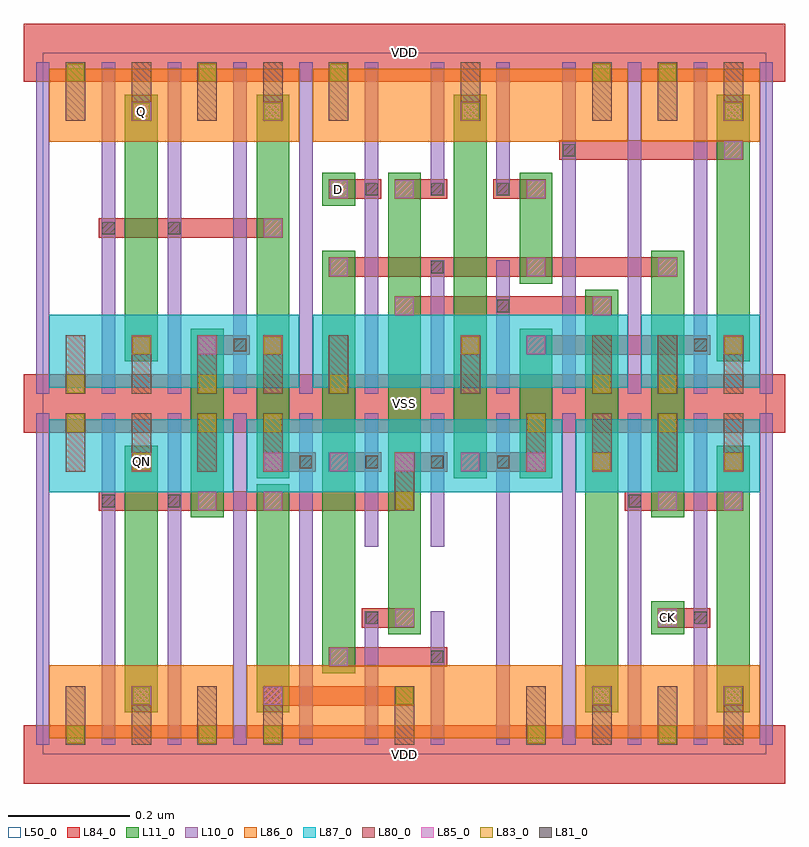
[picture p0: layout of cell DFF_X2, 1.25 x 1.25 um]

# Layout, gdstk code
import gdstk
lib = gdstk.Library(unit=1e-6, precision=1e-09)
def R(c, l, rs):  # rectangles x0, y0, x1, y1
    for r in rs: c.add(gdstk.rectangle(r[:2], r[2:], *l))
def A(c, l, x, y, w, h, nx, ny, dx, dy):  # array of equal rectangles
    R(c, l, [(x+i*dx, y+j*dy, x+i*dx+w, y+j*dy+h) for i in range(nx) for j in range(ny)])
L10_0 = (10, 0)
L11_0 = (11, 0)
L50_0 = (50, 0)
L80_0 = (80, 0)
L81_0 = (81, 0)
L83_0 = (83, 0)
L84_0 = (84, 0)
L85_0 = (85, 0)
L86_0 = (86, 0)
L87_0 = (87, 0)

dff_x2 = lib.new_cell('DFF_X2')
A(dff_x2, L10_0, -0.011, 0.016, 0.022, 0.544, 5, 1, 0.108, 0)
A(dff_x2, L10_0, 0.745, 0.016, 0.022, 0.544, 5, 1, 0.108, 0)
A(dff_x2, L10_0, -0.011, 0.592, 0.022, 0.544, 6, 1, 0.108, 0)
A(dff_x2, L10_0, 0.853, 0.592, 0.022, 0.544, 4, 1, 0.108, 0)
R(dff_x2, L10_0, [(0.529,0.016,0.551,0.235), (0.637,0.016,0.659,0.235), (0.529,0.341,0.551,0.56), (0.637,0.341,0.659,0.56), (0.637,0.592,0.659,0.811), (0.745,0.592,0.767,0.811), (0.637,0.917,0.659,1.136), (0.745,0.917,0.767,1.136)])
R(dff_x2, L11_0, [(0.135,0.069,0.189,0.507), (0.351,0.069,0.405,0.443), (0.891,0.069,0.945,0.763), (1.107,0.069,1.161,0.507), (0.459,0.133,0.513,0.827), (0.567,0.197,0.621,0.955), (0.999,0.197,1.053,0.251), (0.243,0.389,0.297,0.699), (0.999,0.389,1.053,0.827), (0.351,0.453,0.405,1.083), (0.675,0.453,0.729,1.083), (0.783,0.453,0.837,0.699), (0.135,0.645,0.189,1.083), (1.107,0.645,1.161,1.083), (0.783,0.773,0.837,0.955), (0.459,0.901,0.513,0.955)])
R(dff_x2, L50_0, [(0,0,1.188,1.152)])
A(dff_x2, L80_0, 0.038, 0.016, 0.032, 0.096, 4, 2, 0.108, 0.448)
A(dff_x2, L80_0, 0.794, 0.016, 0.032, 0.096, 4, 2, 0.108, 0.448)
A(dff_x2, L80_0, 0.038, 0.592, 0.032, 0.096, 5, 2, 0.108, 0.448)
A(dff_x2, L80_0, 0.902, 0.592, 0.032, 0.096, 3, 2, 0.108, 0.448)
R(dff_x2, L80_0, [(0.578,0.016,0.61,0.112), (0.578,0.4,0.61,0.496), (0.686,0.592,0.718,0.688), (0.686,1.04,0.718,1.136)])
A(dff_x2, L81_0, 0.422, 0.47, 0.02, 0.02, 4, 1, 0.108, 0)
A(dff_x2, L81_0, 0.53, 0.918, 0.02, 0.02, 3, 1, 0.108, 0)
R(dff_x2, L81_0, [(0.638,0.15,0.658,0.17), (0.53,0.214,0.55,0.234), (1.07,0.214,1.09,0.234), (0.098,0.406,0.118,0.426), (0.206,0.406,0.226,0.426), (0.962,0.406,0.982,0.426), (0.314,0.662,0.334,0.682), (1.07,0.662,1.09,0.682), (0.746,0.726,0.766,0.746), (0.638,0.79,0.658,0.81), (0.098,0.854,0.118,0.874), (0.206,0.854,0.226,0.874), (0.854,0.982,0.874,1.002)])
A(dff_x2, L83_0, 0.04, 0.594, 0.028, 0.028, 3, 2, 0.216, 0.512)
R(dff_x2, L83_0, [(0.04,0.018,0.068,0.046), (0.256,0.018,0.284,0.046), (0.364,0.018,0.392,0.046), (0.796,0.018,0.824,0.046), (1.012,0.018,1.04,0.046), (0.148,0.082,0.176,0.11), (0.58,0.082,0.608,0.11), (0.904,0.082,0.932,0.11), (1.12,0.082,1.148,0.11), (0.58,0.402,0.608,0.43), (0.148,0.466,0.176,0.494), (0.904,0.466,0.932,0.494), (1.12,0.466,1.148,0.494), (0.04,0.53,0.068,0.558), (0.256,0.53,0.284,0.558), (0.364,0.53,0.392,0.558), (0.796,0.53,0.824,0.558), (1.012,0.53,1.04,0.558), (0.904,0.594,0.932,0.622), (1.012,0.594,1.04,0.622), (0.148,0.658,0.176,0.686), (0.364,0.658,0.392,0.686), (0.688,0.658,0.716,0.686), (1.12,0.658,1.148,0.686), (0.148,1.042,0.176,1.07), (0.364,1.042,0.392,1.07), (0.688,1.042,0.716,1.07), (1.12,1.042,1.148,1.07), (0.904,1.106,0.932,1.134), (1.012,1.106,1.04,1.134)])
A(dff_x2, L84_0, -0.031, -0.048, 1.25, 0.096, 1, 3, 0, 0.576)
A(dff_x2, L84_0, 0.362, 0.464, 0.086, 0.032, 3, 1, 0.108, 0)
R(dff_x2, L84_0, [(0.146,0.08,0.178,0.112), (0.362,0.08,0.61,0.112), (0.902,0.08,0.934,0.112), (1.118,0.08,1.15,0.112), (0.47,0.144,0.664,0.176), (0.524,0.208,0.61,0.24), (1.01,0.208,1.096,0.24), (0.092,0.4,0.61,0.432), (0.956,0.4,1.15,0.432), (0.146,0.464,0.178,0.496), (0.686,0.464,0.826,0.496), (0.902,0.464,0.934,0.496), (1.118,0.464,1.15,0.496), (0.146,0.656,0.178,0.688), (0.254,0.656,0.34,0.688), (0.362,0.656,0.394,0.688), (0.686,0.656,0.718,0.688), (0.794,0.656,1.096,0.688), (1.118,0.656,1.15,0.688), (0.578,0.72,0.934,0.752), (0.47,0.784,1.042,0.816), (0.092,0.848,0.394,0.88), (0.47,0.912,0.556,0.944), (0.578,0.912,0.664,0.944), (0.74,0.912,0.826,0.944), (0.848,0.976,1.15,1.008), (0.146,1.04,0.178,1.072), (0.362,1.04,0.394,1.072), (0.686,1.04,0.718,1.072), (1.118,1.04,1.15,1.072)])
A(dff_x2, L85_0, 0.363, 0.465, 0.03, 0.03, 6, 1, 0.108, 0)
A(dff_x2, L85_0, 0.147, 0.657, 0.03, 0.03, 3, 1, 0.108, 0)
A(dff_x2, L85_0, 0.795, 0.657, 0.03, 0.03, 1, 3, 0, 0.128)
R(dff_x2, L85_0, [(0.147,0.081,0.177,0.111), (0.363,0.081,0.393,0.111), (0.903,0.081,0.933,0.111), (1.119,0.081,1.149,0.111), (0.471,0.145,0.501,0.175), (0.579,0.209,0.609,0.239), (1.011,0.209,1.041,0.239), (0.255,0.401,0.285,0.431), (0.363,0.401,0.393,0.431), (1.011,0.401,1.041,0.431), (1.119,0.401,1.149,0.431), (0.147,0.465,0.177,0.495), (1.119,0.465,1.149,0.495), (0.687,0.657,0.717,0.687), (1.119,0.657,1.149,0.687), (0.579,0.721,0.609,0.751), (0.903,0.721,0.933,0.751), (0.471,0.785,0.501,0.815), (1.011,0.785,1.041,0.815), (0.363,0.849,0.393,0.879), (0.471,0.913,0.501,0.943), (0.579,0.913,0.609,0.943), (1.119,0.977,1.149,1.007), (0.147,1.041,0.177,1.071), (0.363,1.041,0.393,1.071), (0.687,1.041,0.717,1.071), (1.119,1.041,1.149,1.071)])
R(dff_x2, L86_0, [(0.011,0.026,0.313,0.146), (0.335,0.026,0.853,0.146), (0.875,0.026,1.177,0.146), (0.011,1.006,0.421,1.126), (0.443,1.006,0.961,1.126), (0.983,1.006,1.177,1.126)])
R(dff_x2, L87_0, [(0.011,0.43,0.313,0.55), (0.335,0.43,0.853,0.55), (0.875,0.43,1.177,0.55), (0.011,0.602,0.421,0.722), (0.443,0.602,0.961,0.722), (0.983,0.602,1.177,0.722)])
dff_x2.add(gdstk.Label('VDD', (0.594,1.152), layer=88, texttype=0))
dff_x2.add(gdstk.Label('VDD', (0.594,0), layer=88, texttype=0))
dff_x2.add(gdstk.Label('VSS', (0.594,0.576), layer=88, texttype=0))
dff_x2.add(gdstk.Label('QN', (0.162,0.48), layer=31, texttype=0))
dff_x2.add(gdstk.Label('Q', (0.162,1.056), layer=31, texttype=0))
dff_x2.add(gdstk.Label('CK', (1.026,0.224), layer=31, texttype=0))
dff_x2.add(gdstk.Label('D', (0.486,0.928), layer=31, texttype=0))

lib.write_gds('DFF_X2.gds')
